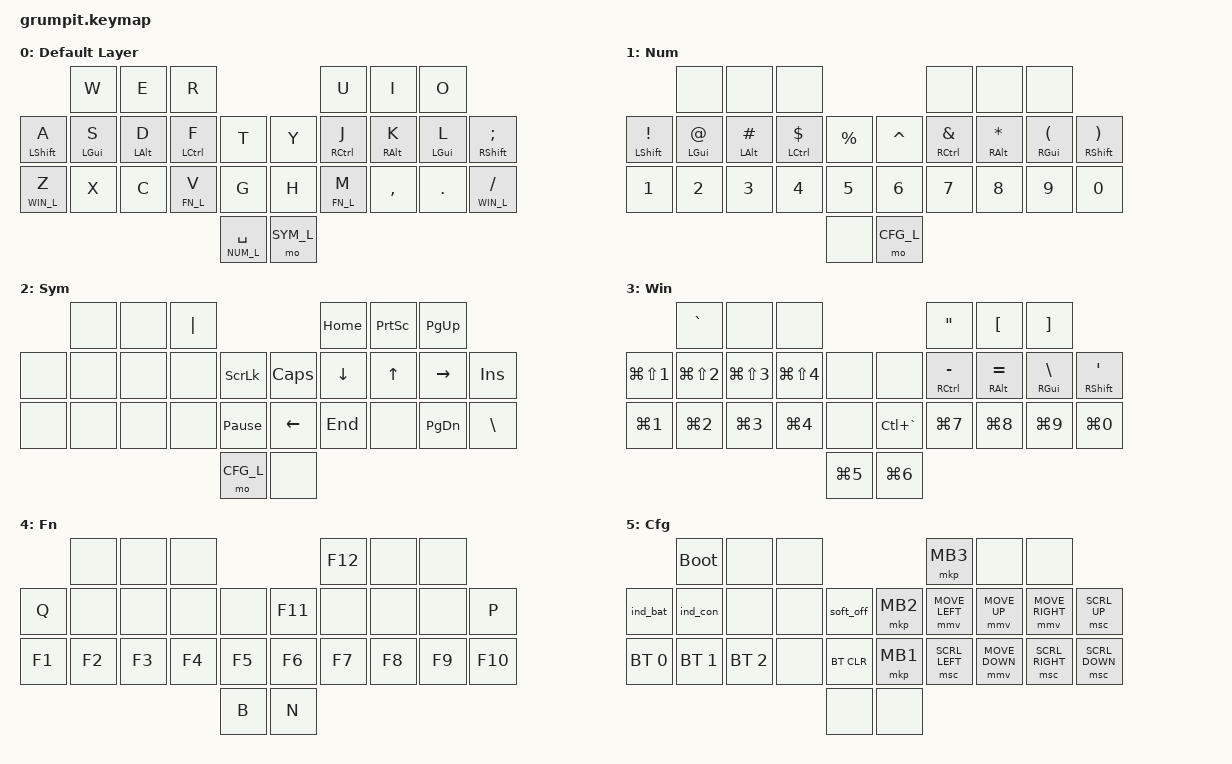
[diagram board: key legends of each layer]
/*
 * Copyright (c) 2020 The ZMK Contributors
 *
 * SPDX-License-Identifier: MIT
 */

#define ZMK_POINTING_DEFAULT_MOVE_VAL 1500  // default: 600
#define ZMK_POINTING_DEFAULT_SCRL_VAL 20    // default: 10

#include <behaviors.dtsi>
#include <dt-bindings/zmk/bt.h>
#include <dt-bindings/zmk/ext_power.h>
#include <dt-bindings/zmk/keys.h>
#include <dt-bindings/zmk/outputs.h>
#include <dt-bindings/zmk/pointing.h>
#include <behaviors/rgbled_widget.dtsi>

#define DEF_L 0
#define NUM_L 1
#define SYM_L 2
#define WIN_L 3
#define FN_L 4
#define CFG_L 5

&lt {
    quick-tap-ms = <220>;
    tapping-term-ms = <280>;
    require-prior-idle-ms = <150>;
    flavor = "balanced";
};

&mt {
    quick-tap-ms = <220>;
    tapping-term-ms = <280>;
    require-prior-idle-ms = <150>;
    flavor = "balanced";
};

&mmv {
    time-to-max-speed-ms = <1000>;
};

&msc {
    time-to-max-speed-ms = <600>;
};

/ {
    combos {
        compatible = "zmk,combos";
//       ┏━━━━━━┳━━━━━━┳━━━━━━┓                 ┏━━━━━━┳━━━━━━┳━━━━━━┓       
//┏━━━━━━┫    (TAB)  (ESC)    ┣━━━━━━┓   ┏━━━━━━┫    (ESC)  (BSPC)   ┣━━━━━━┓
//┃      ┃      ┃      ┃      ┃      ┃   ┃      ┃      ┃      ┃      ┃      ┃
//┃      ┃      ┃   (ENTER)   ┃      ┃   ┃      ┃   (ENTER) (DEL)    ┃      ┃
//┗━━━━━━┻━━━━━━┻━━━━━━┻━━━━━━┫      ┃   ┃      ┣━━━━━━┻━━━━━━┻━━━━━━┻━━━━━━┛
//                            ┗━━━━━━┛   ┗━━━━━━┛
        combo_tab {
            timeout-ms = <50>;
            key-positions = <0 1>;
            bindings = <&kp TAB>;
        };

        combo_bspc {
            timeout-ms = <50>;
            key-positions = <4 5>;
            bindings = <&kp BSPC>;
        };

        combo_del {
            timeout-ms = <50>;
            key-positions = <23 24>;
            bindings = <&kp DEL>;
        };

        combo_esc_l {
            timeout-ms = <50>;
            key-positions = <1 2>;
            bindings = <&kp ESC>;
        };

        combo_ent_l {
            timeout-ms = <50>;
            key-positions = <18 19>;
            bindings = <&kp RET>;
        };

        combo_esc_r {
            timeout-ms = <50>;
            key-positions = <3 4>;
            bindings = <&kp ESC>;
        };

        combo_ent_r {
            timeout-ms = <50>;
            key-positions = <22 23>;
            bindings = <&kp RET>;
        };
    };

    behaviors {
        mt_h: mod_tap_home {
            compatible = "zmk,behavior-hold-tap";
            #binding-cells = <2>;
            flavor = "tap-preferred";
            tapping-term-ms = <170>;
            require-prior-idle-ms = <150>;
            quick-tap-ms = <300>;
            bindings = <&kp>, <&kp>;
            display-name = "Mod-Tap H";
        };
        lt_h: layer_tap_home {
            compatible = "zmk,behavior-hold-tap";
            #binding-cells = <2>;
            flavor = "tap-preferred";
            tapping-term-ms = <200>;
            require-prior-idle-ms = <150>;
            quick-tap-ms = <300>;
            bindings = <&mo>, <&kp>;
            display-name = "Layer-Tap H";
        };
    };

    keymap {
        compatible = "zmk,keymap";

        default_layer {
            display-name = "Default Layer";
            bindings = <
                              &kp W        &kp E         &kp R                                   &kp U         &kp I        &kp O
                &mt_h LSHFT A &mt_h LGUI S &mt_h LALT D  &mt_h LCTRL F &kp T           &kp Y     &mt_h RCTRL J &mt_h RALT K &mt_h LGUI L   &mt_h RSHFT SEMI
                &lt WIN_L Z   &kp X        &kp C         &lt FN_L V    &kp G           &kp H     &lt FN_L M    &kp COMMA    &kp DOT        &lt WIN_L FSLH
                                                                       &lt NUM_L SPC   &mo SYM_L 
            >;
        };

        num_layer {
            display-name = "Num";
            bindings = <
                                 &none         &none           &none                                  &none            &none            &none
                &mt_h LSHFT EXCL &mt_h LGUI AT &mt_h LALT HASH &mt_h LCTRL DLLR &kp PRCNT   &kp CARET &mt_h RCTRL AMPS &mt_h RALT ASTRK &mt_h RGUI LPAR &mt_h RSHFT RPAR
                &kp N1           &kp N2        &kp N3          &kp N4           &kp N5      &kp N6    &kp N7           &kp N8           &kp N9          &kp N0
                                                                                &none       &mo CFG_L
            >;
        };

        sym_layer {
            display-name = "Sym";
            bindings = <
                            &none    &none     &kp PIPE                                  &kp HOME    &kp PSCRN  &kp PG_UP
                &none       &none    &none     &none      &kp SLCK            &kp CAPS   &kp DOWN    &kp UP     &kp RIGHT   &kp INSERT
                &none       &none    &none     &none      &kp PAUSE_BREAK     &kp LEFT   &kp END     &none      &kp PG_DN   &kp BSLH
                                                          &mo CFG_L           &none 
            >;
        };

        win_layer {
            display-name = "Win";
            bindings = <
                               &kp GRAVE      &none          &none                                      &kp DQT           &kp LBKT         &kp RBKT
                &kp LG(LS(N1)) &kp LG(LS(N2)) &kp LG(LS(N3)) &kp LG(LS(N4)) &none         &none         &mt_h RCTRL MINUS &mt_h RALT EQUAL &mt_h RGUI BSLH &mt_h RSHFT SQT
                &kp LG(N1)     &kp LG(N2)     &kp LG(N3)     &kp LG(N4)     &none         &kp LC(GRAVE) &kp LG(N7)        &kp LG(N8)       &kp LG(N9)      &kp LG(N0)
                                                                            &kp LG(N5)    &kp LG(N6)
            >;
        };

        fn_layer {
            display-name = "Fn";
            bindings = <
                        &none   &none   &none                      &kp F12  &none   &none
                &kp Q   &none   &none   &none   &none     &kp F11  &none    &none   &none   &kp P
                &kp F1  &kp F2  &kp F3  &kp F4  &kp F5    &kp F6   &kp F7   &kp F8  &kp F9  &kp F10
                                                &kp B     &kp N
            >;
        };

        cfg_layer {
            display-name = "Cfg";
            bindings = <
                             &bootloader  &none        &none                           &mkp MB3        &none          &none
                &ind_bat     &ind_con     &none        &none   &soft_off     &mkp MB2  &mmv MOVE_LEFT  &mmv MOVE_UP   &mmv MOVE_RIGHT  &msc SCRL_UP
                &bt BT_SEL 0 &bt BT_SEL 1 &bt BT_SEL 2 &none   &bt BT_CLR    &mkp MB1  &msc SCRL_LEFT  &mmv MOVE_DOWN &msc SCRL_RIGHT  &msc SCRL_DOWN
                                                               &none         &none
            >;
        };
    };
};
